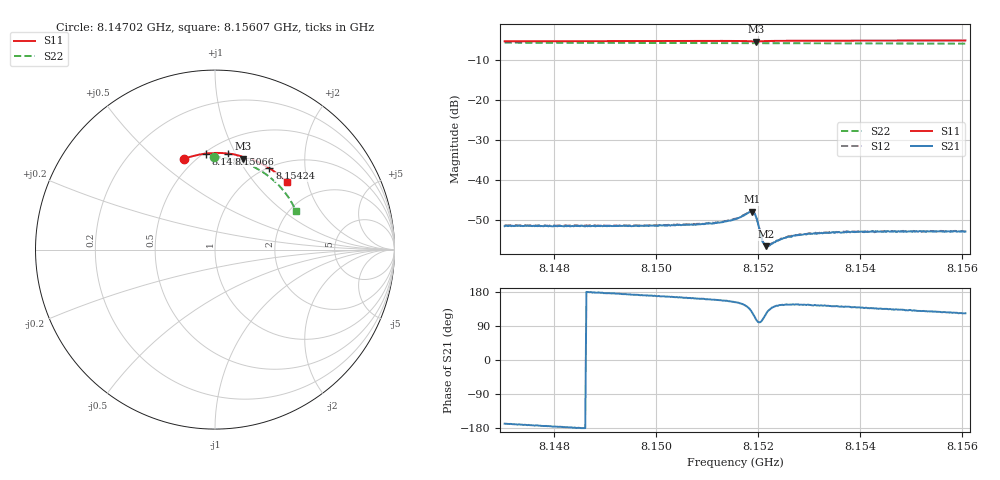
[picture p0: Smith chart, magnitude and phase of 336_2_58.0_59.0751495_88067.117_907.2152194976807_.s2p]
#  HZ  S  RI  R  50.00
! Rohde & Schwarz Vector Network Analyzer
! Rohde-Schwarz,ZNB20-2Port,1311601062101988,3.16
! Created: UTC 3/21/2024, 1:05:18 AM
! freq[Hz]  re:S11  im:S11  re:S21  im:S21  re:S12  im:S12  re:S22  im:S22
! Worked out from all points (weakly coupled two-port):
!   401 points, 8.14702 GHz to 8.15607 GHz, reference 50 ohm
!   highest |S21| = -48.03 dB at 8.15188 GHz (marker M1); lowest = -56.7 dB at 8.15215 GHz (marker M2)
!   lowest |S11| = -5.5 dB at 8.15195 GHz (marker M3), VSWR 3.26, Z = 37.2 + j52.4 ohm
!   |S11| at or under -10 dB: nowhere
!   |S22| runs from -6.0 to -5.8 dB; largest |S21 - S12| = 0.00011
!   S11 on the Smith chart (normalised r, x): 8.14702 GHz: 0.44, +0.62; 8.14885 GHz: 0.51, +0.77; 8.15066 GHz: 0.62, +0.94; 8.15424 GHz: 1.01, +1.31; 8.15607 GHz: 1.40, +1.50
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8.147023e9  -0.1755 0.5043  -0.00255 -0.000543  -0.00262 -0.000499  -0.00822 0.5134
8.148538e9  -0.0734 0.5317  -0.00267 -1.41e-05  -0.00266 3.51e-05  0.0901 0.5037
8.148854e9  -0.0514 0.5348  -0.00262 8.54e-05  -0.00267 0.000139  0.1102 0.4993
8.150052e9  0.0318 0.5383  -0.00262 0.000504  -0.00262 0.000581  0.1838 0.4755
8.150663e9  0.0744 0.5352  -0.0026 0.000761  -0.00266 0.000824  0.2194 0.4591
8.151138e9  0.1075 0.53  -0.00265 0.00102  -0.00263 0.00105  0.2461 0.4445
8.151545e9  0.1365 0.5231  -0.00282 0.00147  -0.00284 0.00154  0.2682 0.4308
8.151838e9  0.1572 0.512  -0.00273 0.00287  -0.00269 0.00292  0.2837 0.42
8.151884e9  0.1585 0.509  -0.00225 0.00327  -0.00229 0.00331  0.2857 0.4183
8.151929e9  0.1583 0.5067  -0.00155 0.00342  -0.0015 0.00348  0.2879 0.4166
8.151952e9  0.1577 0.5063  -0.00111 0.00331  -0.00106 0.00335  0.289 0.4158
8.152087e9  0.162 0.5113  -0.000483 0.00158  -0.000472 0.00164  0.2959 0.4109
8.15211e9  0.1638 0.5117  -0.00059 0.00149  -0.000553 0.00148  0.2972 0.4101
8.152155e9  0.1676 0.512  -0.000779 0.00124  -0.000753 0.00127  0.2994 0.4084
8.1522e9  0.1713 0.5118  -0.000972 0.00114  -0.000944 0.00115  0.3017 0.4067
8.152404e9  0.1868 0.5087  -0.00142 0.00101  -0.00142 0.00103  0.3119 0.3985
8.15263e9  0.2025 0.5036  -0.0016 0.00107  -0.00162 0.00109  0.3229 0.3891
8.153059e9  0.2308 0.4923  -0.00171 0.00121  -0.00171 0.00123  0.3428 0.3709
8.153692e9  0.2704 0.4729  -0.00168 0.00139  -0.0017 0.00143  0.3703 0.342
8.154235e9  0.3027 0.4538  -0.00161 0.00153  -0.00165 0.00156  0.3917 0.3156
8.154574e9  0.3221 0.4408  -0.00156 0.0016  -0.00157 0.00163  0.4044 0.2983
8.156066e9  0.4001 0.3743  -0.00123 0.00187  -0.00123 0.0019  0.4499 0.2175
